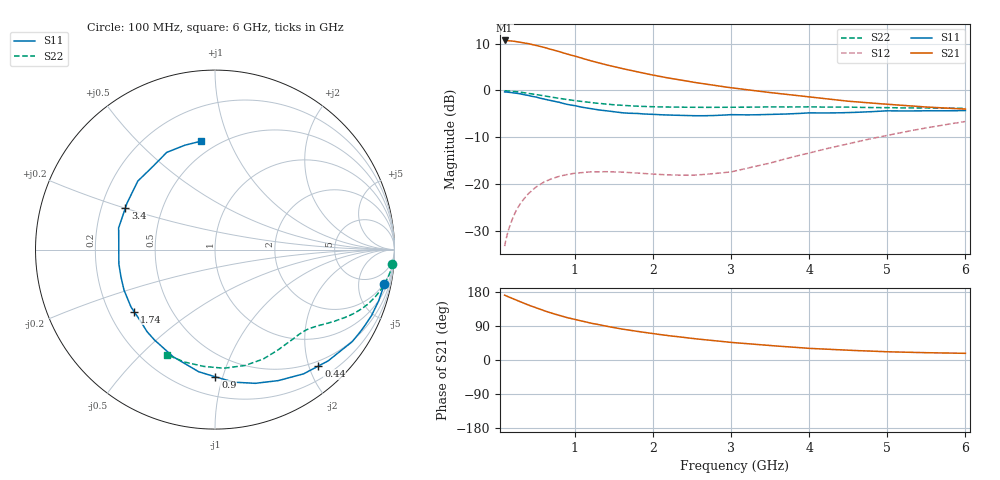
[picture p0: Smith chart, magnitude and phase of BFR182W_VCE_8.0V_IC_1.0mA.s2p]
! Infineon Technologies  Discrete & RF Semiconductors
! BFR182W
! VCE =  8.0 V,  IC =  1.0 mA
! Common Emitter S-Parameters:  Nov 2015
# GHz  S  MA  R  50
!  f  S11  S21  S12  S22
! GHz  MAG  ANG  MAG  ANG  MAG  ANG  MAG  ANG
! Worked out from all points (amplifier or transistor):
!   192 points, 100 MHz to 6 GHz, reference 50 ohm
!   highest |S21| = 10.7 dB at 100 MHz (marker M1)
!   |S21| within 3 dB of that: start of sweep to 921.8 MHz
!   unconditionally stable (mu >= 1): 2.175 GHz to 3.318 GHz
!   at 440 MHz: K = 0.20, MSG = 15.7 dB, |S12| = -21.6 dB
!   at 1.7 GHz: K = 0.79, MSG = 10.9 dB, |S12| = -17.6 dB
!   at 6 GHz: K = 0.80, MSG = 1.3 dB, |S12| = -6.7 dB
!   S11 on the Smith chart (normalised r, x): 100 MHz: 1.80, -9.60; 440 MHz: 0.41, -2.16; 900 MHz: 0.33, -0.95; 1.74 GHz: 0.30, -0.31; 3.4 GHz: 0.30, +0.20; 6 GHz: 0.41, +0.79
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0.1  0.9633 -11.5  3.418 171.2  0.0216 82.9  0.9913 -4.5
0.155  0.9543 -17.9  3.388 166.2  0.0333 79.2  0.9856 -6.9
0.24  0.935 -27.3  3.335 158.8  0.0503 73.5  0.9701 -10.4
0.4  0.8843 -44.5  3.168 145.3  0.078 64.1  0.9311 -16.4
0.44  0.8675 -48.4  3.108 142.4  0.0836 61.6  0.92 -17.7
0.5  0.8503 -54.5  3.033 137.8  0.0923 58.4  0.9043 -19.7
0.6  0.8107 -64.2  2.892 130.5  0.1043 53.8  0.8752 -22.5
0.68  0.7832 -71.3  2.765 125.0  0.1115 50.3  0.8535 -24.5
0.8  0.7458 -82.0  2.596 117.6  0.1206 46.0  0.8216 -27.2
0.9  0.709 -89.8  2.448 111.9  0.1263 42.8  0.7985 -29.0
1.1  0.6588 -104.3  2.194 102.4  0.1323 37.9  0.7588 -32.4
1.2  0.6406 -111.4  2.077 97.4  0.1346 35.8  0.7411 -33.9
1.4  0.6058 -123.9  1.879 89.3  0.1352 33.0  0.7132 -36.5
1.6  0.5767 -135.5  1.717 81.8  0.1337 31.9  0.6929 -38.9
1.74  0.5679 -142.5  1.617 77.5  0.1316 32.0  0.6819 -40.6
2.08  0.5498 -159.2  1.415 67.5  0.1263 34.7  0.6658 -44.9
2.5  0.5365 -175.9  1.228 56.7  0.1237 42.4  0.6596 -50.2
3.1  0.5481 164.2  1.041 44.9  0.1405 57.7  0.6604 -59.5
3.4  0.5505 155.0  0.97 39.8  0.1602 63.9  0.664 -64.5
4.1  0.5737 136.0  0.834 29.8  0.2248 69.8  0.6645 -77.4
5.1  0.6033 114.3  0.701 21.2  0.3435 66.7  0.6513 -97.4
6  0.6089 97.5  0.631 17.6  0.4649 58.5  0.6443 -114.6
